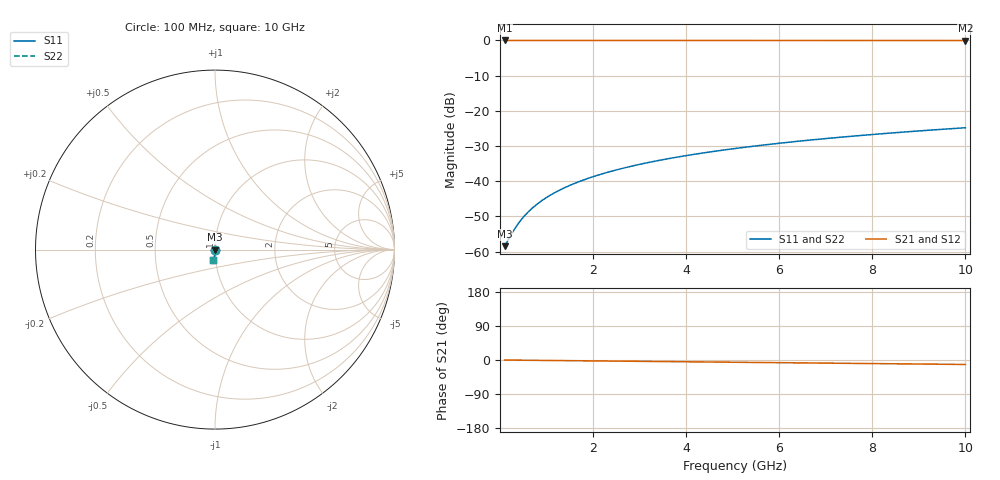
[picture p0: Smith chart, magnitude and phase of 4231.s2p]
# Hz S RI R 50.00
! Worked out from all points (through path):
!   100 points, 100 MHz to 10 GHz, reference 50 ohm
!   highest |S21| = -0.01 dB at 100 MHz (marker M1); lowest = 0.0 dB at 10 GHz (marker M2)
!   group delay of S21, straight-line fit = 3.27 ps
!   lowest |S11| = -58.5 dB at 100 MHz (marker M3), VSWR 1.00, Z = 50.1 - j0.058 ohm
!   |S11| at or under -10 dB: start of sweep to end of sweep
!   |S22| runs from -58.5 to -24.8 dB; largest |S21 - S12| = 0
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1e8  0.00104 -0.000579  0.9989 -0.00205  0.9989 -0.00205  0.00104 -0.000579
3e8  0.00104 -0.00174  0.9989 -0.00615  0.9989 -0.00615  0.00104 -0.00174
4e8  0.00104 -0.00232  0.9989 -0.0082  0.9989 -0.0082  0.00104 -0.00232
5e8  0.00103 -0.00289  0.9989 -0.0103  0.9989 -0.0103  0.00103 -0.00289
6e8  0.00102 -0.00347  0.9988 -0.0123  0.9988 -0.0123  0.00102 -0.00347
7e8  0.00101 -0.00405  0.9988 -0.0144  0.9988 -0.0144  0.00101 -0.00405
8e8  0.00099 -0.00463  0.9988 -0.0164  0.9988 -0.0164  0.00099 -0.00463
9e8  0.000971 -0.00521  0.9987 -0.0185  0.9987 -0.0185  0.000971 -0.00521
1e9  0.000949 -0.00579  0.9987 -0.0205  0.9987 -0.0205  0.000949 -0.00579
1.2e9  0.000899 -0.00695  0.9986 -0.0246  0.9986 -0.0246  0.000899 -0.00695
1.5e9  0.000805 -0.00868  0.9984 -0.0307  0.9984 -0.0307  0.000805 -0.00868
1.8e9  0.000689 -0.0104  0.9981 -0.0369  0.9981 -0.0369  0.000689 -0.0104
2.1e9  0.000552 -0.0121  0.9979 -0.043  0.9979 -0.043  0.000552 -0.0121
2.5e9  0.000335 -0.0145  0.9974 -0.0512  0.9974 -0.0512  0.000335 -0.0145
2.9e9  7.94e-05 -0.0168  0.9969 -0.0594  0.9969 -0.0594  7.94e-05 -0.0168
3.4e9  -0.000293 -0.0196  0.9962 -0.0697  0.9962 -0.0697  -0.000293 -0.0196
4.2e9  -0.00101 -0.0242  0.9948 -0.086  0.9948 -0.086  -0.00101 -0.0242
5.1e9  -0.002 -0.0293  0.9929 -0.1044  0.9929 -0.1044  -0.002 -0.0293
5.9e9  -0.00304 -0.0339  0.9909 -0.1207  0.9909 -0.1207  -0.00304 -0.0339
6.7e9  -0.00423 -0.0384  0.9886 -0.1369  0.9886 -0.1369  -0.00423 -0.0384
8.4e9  -0.00724 -0.0478  0.9827 -0.1713  0.9827 -0.1713  -0.00724 -0.0478
1e10  -0.0107 -0.0564  0.976 -0.2035  0.976 -0.2035  -0.0107 -0.0564
